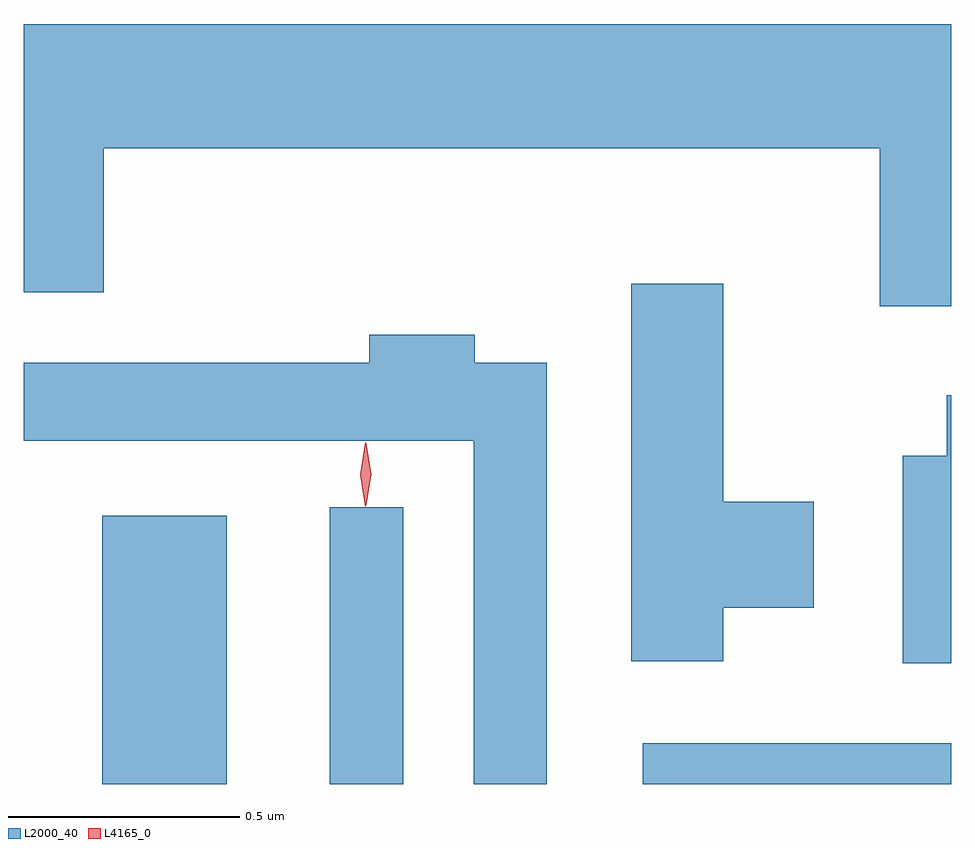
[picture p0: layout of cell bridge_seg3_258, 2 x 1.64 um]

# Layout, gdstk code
import gdstk
lib = gdstk.Library(unit=1e-6, precision=1e-09)
def R(c, l, rs):  # rectangles x0, y0, x1, y1
    for r in rs: c.add(gdstk.rectangle(r[:2], r[2:], *l))
def P(c, l, *ps):  # polygons
    for p in ps: c.add(gdstk.Polygon(p, *l))
L2000_40 = (2000, 40)
L4165_0 = (4165, 0)

bridge_seg3_258 = lib.new_cell('bridge_seg3_258')
R(bridge_seg3_258, L2000_40, [(1005.956,1142.406,1006.224,1142.984), (1006.446,1142.406,1006.604,1143.003), (1007.121,1142.406,1007.786,1142.494)])
P(bridge_seg3_258, L2000_40, [(1007.786,1144.044),(1005.786,1144.044),(1005.786,1143.466),(1005.959,1143.466),(1005.959,1143.776),(1007.631,1143.776),(1007.631,1143.436),(1007.786,1143.436)],
  [(1007.294,1142.786),(1007.489,1142.786),(1007.489,1143.014),(1007.294,1143.014),(1007.294,1143.484),(1007.096,1143.484),(1007.096,1142.671),(1007.294,1142.671)],
  [(1006.914,1143.314),(1006.759,1143.314),(1006.759,1143.374),(1006.531,1143.374),(1006.531,1143.314),(1005.786,1143.314),(1005.786,1143.146),(1006.756,1143.146),(1006.756,1142.406),(1006.914,1142.406)],
  [(1007.786,1143.244),(1007.776,1143.244),(1007.776,1143.114),(1007.681,1143.114),(1007.681,1142.666),(1007.786,1142.666)])
P(bridge_seg3_258, L4165_0, [(1006.522,1143.004),(1006.522,1143.004),(1006.512,1143.073),(1006.522,1143.142),(1006.522,1143.143),(1006.523,1143.142),(1006.532,1143.073),(1006.523,1143.004)],
  [(1006.524,1143.007),(1006.515,1143.074),(1006.524,1143.14),(1006.525,1143.141),(1006.525,1143.14),(1006.535,1143.074),(1006.525,1143.007),(1006.525,1143.007)])

lib.write_gds('bridge_seg3_258.gds')
